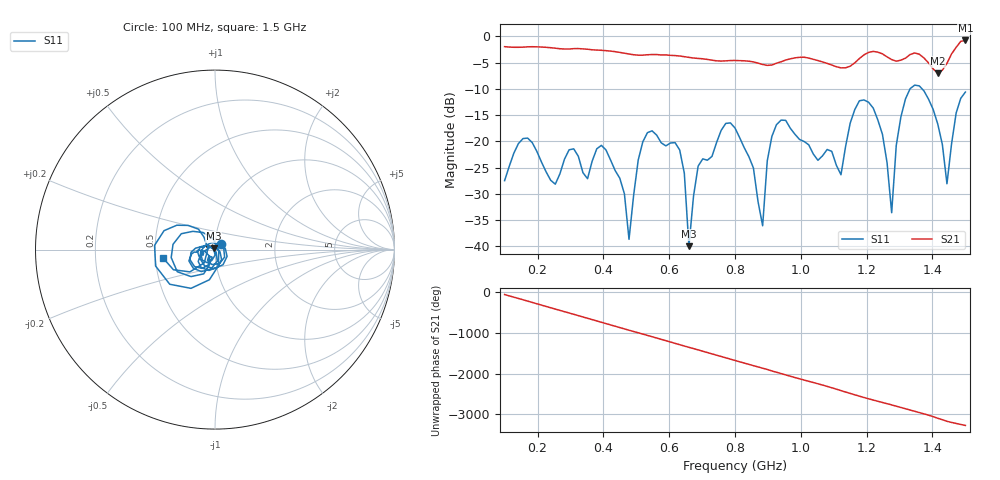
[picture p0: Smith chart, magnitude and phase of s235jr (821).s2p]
! NanoVNA-App
! Date: 2025-09-25 15:10:33
! Start: 100MHz Stop: 1,5GHz Points: 101
! S-Parameter data: F S11 S21 S12 S22
# Hz S RI R 50
!  Frequency  S11_Real  S11_Imag  S21_Real  S21_Imag  S12_Real  S12_Imag  S22_Real  S22_Imag
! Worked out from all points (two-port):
!   101 points, 100 MHz to 1.5 GHz, reference 50 ohm
!   highest |S21| = -0.78 dB at 1.5 GHz (marker M1); lowest = -7.0 dB at 1.416 GHz (marker M2)
!   |S21| within 3 dB of the highest: start of sweep to 636.4 MHz; 1.187 GHz to 1.259 GHz (72.12 MHz wide, 5.9 % of centre) (the widest 2 of 4)
!   lowest |S11| = -39.9 dB at 660 MHz (marker M3), VSWR 1.02, Z = 49.2 + j0.605 ohm
!   |S11| at or under -10 dB: start of sweep to 1.332 GHz; 1.368 GHz to end of sweep
!   S12 and S22 are empty: the file has one direction only
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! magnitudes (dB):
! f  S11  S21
! 100 MHz  -27.5  -2.0
! 170 MHz  -19.4  -2.0
! 338 MHz  -26.0  -2.4
! 408 MHz  -21.6  -2.7
! 478 MHz  -38.6  -3.4
! 520 MHz  -20.1  -3.6
! 576 MHz  -20.3  -3.5
! 632 MHz  -21.6  -3.7
! 660 MHz  -39.9  -4.0
! 688 MHz  -24.7  -4.2
! 800 MHz  -17.4  -4.6
! 884 MHz  -36.1  -5.4
! 926 MHz  -16.8  -5.1
! 1.038 GHz  -22.4  -4.4
! 1.122 GHz  -26.3  -6.0
! 1.206 GHz  -12.6  -3.1
! 1.276 GHz  -33.6  -4.4
! 1.29 GHz  -20.7  -4.7
! 1.332 GHz  -10.0  -3.5
! 1.416 GHz  -16.7  -7.0
! 1.444 GHz  -28.1  -5.1
! 1.5 GHz  -10.6  -0.8
